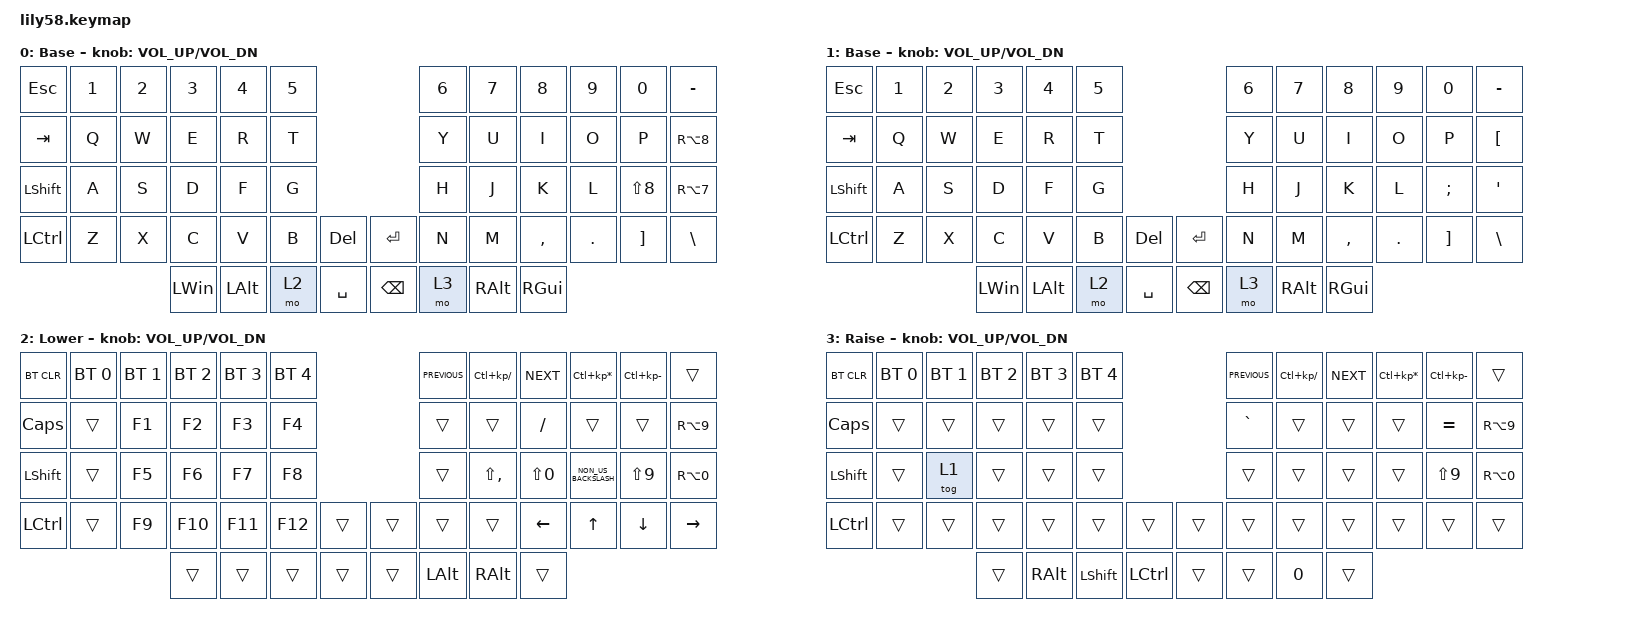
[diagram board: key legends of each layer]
/*
 * Copyright (c) 2020 The ZMK Contributors
 *
 * SPDX-License-Identifier: MIT
 */

#include <behaviors.dtsi>
#include <dt-bindings/zmk/bt.h>
#include <dt-bindings/zmk/keys.h>

/ {
    keymap {
        compatible = "zmk,keymap";

        English {
            // ------------------------------------------------------------------------------------------------------------
            // |  ESC  |  1  |  2  |  3   |  4   |  5   |                   |  6   |  7    |  8    |  9   |   0   |   `   |
            // |  TAB  |  Q  |  W  |  E   |  R   |  T   |                   |  Y   |  U    |  I    |  O   |   P   |   -   |
            // |  CTRL |  A  |  S  |  D   |  F   |  G   |                   |  H   |  J    |  K    |  L   |   ;   |   '   |
            // | SHIFT |  Z  |  X  |  C   |  V   |  B   |   "["  |  |  "]"  |  N   |  M    |  ,    |  .   |   /   | SHIFT |
            //                     | ALT  | GUI  | LOWER|  SPACE |  | ENTER | RAISE| BSPC  | GUI   |

            display-name = "Base";
            bindings = <
&kp ESC           &kp N1  &kp N2  &kp N3        &kp N4        &kp N5                               &kp N6  &kp N7         &kp N8     &kp N9      &kp N0             &kp MINUS
&kp TAB           &kp Q   &kp W   &kp E         &kp R         &kp T                                &kp Y   &kp U          &kp I      &kp O       &kp P              &kp RA(NUMBER_8)
&kp LEFT_SHIFT    &kp A   &kp S   &kp D         &kp F         &kp G                                &kp H   &kp J          &kp K      &kp L       &kp LS(N8)         &kp RA(NUMBER_7)
&kp LEFT_CONTROL  &kp Z   &kp X   &kp C         &kp V         &kp B   &kp DELETE    &kp ENTER      &kp N   &kp M          &kp COMMA  &kp PERIOD  &kp RIGHT_BRACKET  &kp BACKSLASH
                                  &kp LEFT_WIN  &kp LEFT_ALT  &mo 2   &kp SPACE     &kp BACKSPACE  &mo 3   &kp RIGHT_ALT  &kp RGUI
            >;

            sensor-bindings = <&inc_dec_kp C_VOL_UP C_VOL_DN>;
        };

        swedish {
            display-name = "Base";
            bindings = <
&kp ESC           &kp N1  &kp N2  &kp N3        &kp N4        &kp N5                               &kp N6  &kp N7         &kp N8     &kp N9      &kp N0             &kp MINUS
&kp TAB           &kp Q   &kp W   &kp E         &kp R         &kp T                                &kp Y   &kp U          &kp I      &kp O       &kp P              &kp LEFT_BRACKET
&kp LEFT_SHIFT    &kp A   &kp S   &kp D         &kp F         &kp G                                &kp H   &kp J          &kp K      &kp L       &kp SEMI           &kp SINGLE_QUOTE
&kp LEFT_CONTROL  &kp Z   &kp X   &kp C         &kp V         &kp B   &kp DELETE    &kp ENTER      &kp N   &kp M          &kp COMMA  &kp PERIOD  &kp RIGHT_BRACKET  &kp BACKSLASH
                                  &kp LEFT_WIN  &kp LEFT_ALT  &mo 2   &kp SPACE     &kp BACKSPACE  &mo 3   &kp RIGHT_ALT  &kp RGUI
            >;

            sensor-bindings = <&inc_dec_kp C_VOL_UP C_VOL_DN>;
        };

        lower_layer {
            // ------------------------------------------------------------------------------------------------------------
            // | BTCLR | BT1 | BT2 |  BT3 |  BT4 |  BT5 |                   |      |       |       |      |       |       |
            // |  F1   |  F2 |  F3 |  F4  |  F5  |  F6  |                   |  F7  |  F8   |  F9   |  F10 |  F11  |  F12  |
            // |   `   |  !  |  @  |  #   |  $   |  %   |                   |  ^   |  &    |  *    |  (   |   )   |   ~   |
            // |       |     |     |      |      |      |        |  |       |      |  _    |  +    |  {   |   }   |  "|"  |
            //                     |      |      |      |        |  |       |      |       |       |

            display-name = "Lower";
            bindings = <
&bt BT_CLR      &bt BT_SEL 0  &bt BT_SEL 1  &bt BT_SEL 2  &bt BT_SEL 3  &bt BT_SEL 4                    &kp C_PREVIOUS  &kp LC(KP_DIVIDE)  &kp C_NEXT      &kp LC(KP_ASTERISK)   &kp LC(KP_MINUS)  &trans
&kp CAPS        &trans        &kp F1        &kp F2        &kp F3        &kp F4                          &trans          &trans             &kp SLASH       &trans                &trans            &kp RA(NUMBER_9)
&kp LEFT_SHIFT  &trans        &kp F5        &kp F6        &kp F7        &kp F8                          &trans          &kp LS(COMMA)      &kp LS(N0)      &kp NON_US_BACKSLASH  &kp LS(NUMBER_9)  &kp RA(NUMBER_0)
&kp LCTRL       &trans        &kp F9        &kp F10       &kp F11       &kp F12       &trans    &trans  &trans          &trans             &kp LEFT_ARROW  &kp UP_ARROW          &kp DOWN_ARROW    &kp RIGHT_ARROW
                                            &trans        &trans        &trans        &trans    &trans  &kp LEFT_ALT    &kp RIGHT_ALT      &trans
            >;

            sensor-bindings = <&inc_dec_kp C_VOL_UP C_VOL_DN>;
        };

        raise_layer {
            display-name = "Raise";
            bindings = <
&bt BT_CLR        &bt BT_SEL 0  &bt BT_SEL 1  &bt BT_SEL 2  &bt BT_SEL 3   &bt BT_SEL 4                                &kp C_PREVIOUS  &kp LC(KP_DIVIDE)  &kp C_NEXT  &kp LC(KP_ASTERISK)  &kp LC(KP_MINUS)  &trans
&kp CAPS          &trans        &trans        &trans        &trans         &trans                                      &kp GRAVE       &trans             &trans      &trans               &kp EQUAL         &kp RA(N9)
&kp LEFT_SHIFT    &trans        &tog 1        &trans        &trans         &trans                                      &trans          &trans             &trans      &trans               &kp LS(NUMBER_9)  &kp RA(NUMBER_0)
&kp LEFT_CONTROL  &trans        &trans        &trans        &trans         &trans          &trans              &trans  &trans          &trans             &trans      &trans               &trans            &trans
                                              &trans        &kp RIGHT_ALT  &kp LEFT_SHIFT  &kp LEFT_CONTROL    &trans  &trans          &kp N0             &trans
            >;

            sensor-bindings = <&inc_dec_kp C_VOL_UP C_VOL_DN>;
        };

        extra_1 { status = "reserved"; };

        extra_2 { status = "reserved"; };

        extra_3 { status = "reserved"; };
    };
};
